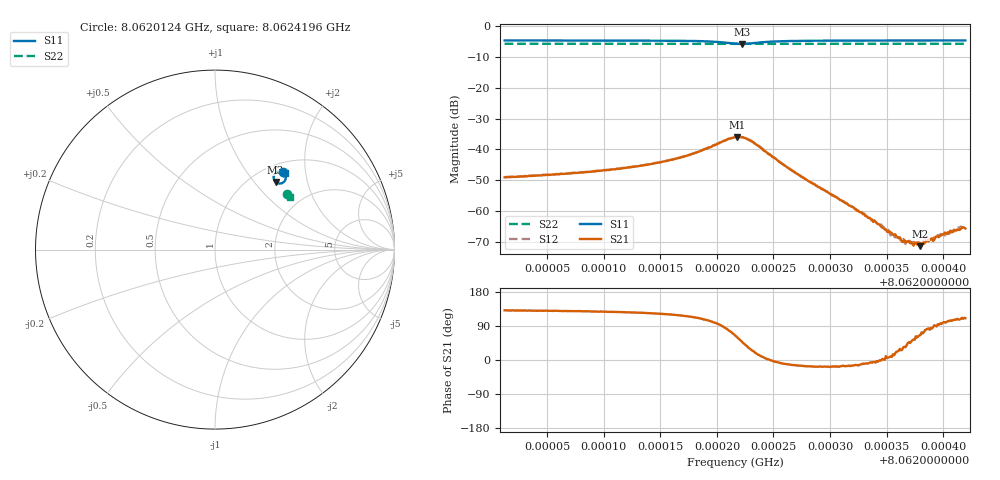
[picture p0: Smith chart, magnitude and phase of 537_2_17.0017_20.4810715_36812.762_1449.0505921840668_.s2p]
#  HZ  S  RI  R  50.00
! Rohde & Schwarz Vector Network Analyzer
! Rohde-Schwarz,ZNB20-2Port,1311601062101988,3.16
! Created: UTC 3/20/2024, 11:16:09 PM
! freq[Hz]  re:S11  im:S11  re:S21  im:S21  re:S12  im:S12  re:S22  im:S22
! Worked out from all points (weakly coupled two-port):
!   401 points, 8.0620124 GHz to 8.0624196 GHz, reference 50 ohm
!   highest |S21| = -35.96 dB at 8.0622181 GHz (marker M1); lowest = -71.2 dB at 8.0623799 GHz (marker M2)
!   lowest |S11| = -5.9 dB at 8.0622221 GHz (marker M3), VSWR 3.05, Z = 63.9 + j64.9 ohm
!   |S11| at or under -10 dB: nowhere
!   |S22| runs from -5.9 to -5.9 dB; largest |S21 - S12| = 0.001
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8.06201239e9  0.3778 0.4348  -0.00233 0.00267  -0.00218 0.00283  0.4033 0.3106
8.06208061e9  0.3836 0.429  -0.00267 0.00335  -0.00246 0.00351  0.4058 0.3071
8.06214882e9  0.3912 0.4178  -0.00328 0.00518  -0.00301 0.00544  0.4083 0.3033
8.06217835e9  0.3946 0.4049  -0.00336 0.00777  -0.00292 0.00802  0.4093 0.3012
8.06221602e9  0.3554 0.3684  0.00667 0.0142  0.00746 0.0139  0.4082 0.2985
8.06221806e9  0.3491 0.3701  0.00805 0.0137  0.00887 0.0134  0.4081 0.2984
8.06222213e9  0.3372 0.3773  0.0105 0.0118  0.0112 0.0112  0.4078 0.2988
8.06223129e9  0.3266 0.4039  0.0121 0.00552  0.0125 0.00492  0.4079 0.2996
8.0622598e9  0.3547 0.4356  0.00543 -0.000953  0.00541 -0.00126  0.4105 0.2993
8.06228423e9  0.3682 0.4353  0.00273 -0.000842  0.0027 -0.00103  0.4121 0.2979
8.06232903e9  0.3794 0.4313  0.000891 -0.00015  0.000907 -0.000262  0.4139 0.2954
8.06234532e9  0.3816 0.4299  0.000564 -1.24e-05  0.000613 -3.21e-05  0.4146 0.2946
8.06235245e9  0.3826 0.4295  0.000474 6.15e-05  0.00045 1.67e-05  0.4149 0.2941
8.0623555e9  0.3831 0.4292  0.000409 0.00011  0.00039 7.76e-05  0.4148 0.294
8.06236467e9  0.384 0.4284  0.000266 0.000175  0.000338 0.000127  0.4153 0.2936
8.06237485e9  0.3851 0.4276  0.000186 0.000252  0.000182 0.000228  0.4156 0.293
8.06237688e9  0.3853 0.4275  0.00015 0.000251  0.000173 0.000268  0.4156 0.2929
8.06237994e9  0.3856 0.4273  0.000113 0.00025  0.000137 0.000298  0.4158 0.2927
8.06238197e9  0.3858 0.4271  0.000106 0.000291  0.000119 0.000305  0.4159 0.2926
8.0624003e9  0.3876 0.426  -7.11e-05 0.000419  -4.52e-05 0.000409  0.4166 0.2917
8.06241354e9  0.3889 0.425  -0.000144 0.000482  -0.000166 0.000529  0.4171 0.2909
8.06241964e9  0.3893 0.4246  -0.000184 0.000497  -0.000178 0.000507  0.4171 0.2907
